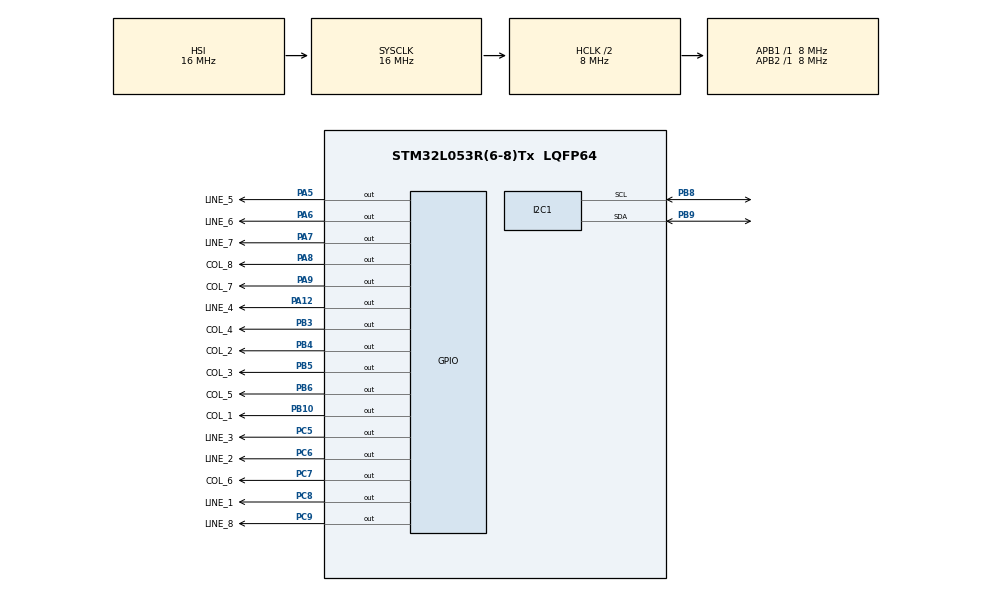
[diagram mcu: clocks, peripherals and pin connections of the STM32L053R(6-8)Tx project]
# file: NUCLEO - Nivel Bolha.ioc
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I2C1.Timing=0x00201D2B
Mcu.Family=STM32L0
Mcu.Name=STM32L053R(6-8)Tx
Mcu.Package=LQFP64
NVIC.TIM6_DAC_IRQn=true\:0\:0\:false\:false\:true\:true\:true\:true
PA12.GPIO_Label=LINE_4
PA12.Signal=GPIO_Output
PA5.GPIO_Label=LINE_5
PA5.Signal=GPIO_Output
PA6.GPIO_Label=LINE_6
PA6.Signal=GPIO_Output
PA7.GPIO_Label=LINE_7
PA7.Signal=GPIO_Output
PA8.GPIO_Label=COL_8
PA8.Signal=GPIO_Output
PA9.GPIO_Label=COL_7
PA9.Signal=GPIO_Output
PB10.GPIO_Label=COL_1
PB10.Signal=GPIO_Output
PB3.GPIO_Label=COL_4
PB3.Signal=GPIO_Output
PB4.GPIO_Label=COL_2
PB4.Signal=GPIO_Output
PB5.GPIO_Label=COL_3
PB5.Signal=GPIO_Output
PB6.GPIO_Label=COL_5
PB6.Signal=GPIO_Output
PB8.Mode=I2C
PB8.Signal=I2C1_SCL
PB9.Mode=I2C
PB9.Signal=I2C1_SDA
PC5.GPIO_Label=LINE_3
PC5.Signal=GPIO_Output
PC6.GPIO_Label=LINE_2
PC6.Signal=GPIO_Output
PC7.GPIO_Label=COL_6
PC7.Signal=GPIO_Output
PC8.GPIO_Label=LINE_1
PC8.Signal=GPIO_Output
PC9.GPIO_Label=LINE_8
PC9.Signal=GPIO_Output
ProjectManager.HeapSize=0x200
ProjectManager.StackSize=0x400
ProjectManager.TargetToolchain=STM32CubeIDE
RCC.AHBCLKDivider=RCC_SYSCLK_DIV2
RCC.AHBFreq_Value=8000000
RCC.APB1Freq_Value=8000000
RCC.APB1TimFreq_Value=8000000
RCC.APB2Freq_Value=8000000
RCC.APB2TimFreq_Value=8000000
RCC.HCLKFreq_Value=8000000
RCC.HSE_VALUE=8000000
RCC.HSI16_VALUE=16000000
RCC.HSI48_VALUE=48000000
RCC.HSI_VALUE=16000000
RCC.MSI_VALUE=2097000
RCC.SYSCLKFreq_VALUE=16000000
RCC.SYSCLKSource=RCC_SYSCLKSOURCE_HSI
RCC.VCOOutputFreq_Value=48000000
TIM6.Period=200-1
TIM6.Prescaler=8000-1
VP_TIM6_VS_ClockSourceINT.Mode=Enable_Timer
board=NUCLEO-L053R8

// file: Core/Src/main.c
/* USER CODE BEGIN Header */
/**
  ******************************************************************************
  * @file           : main.c
  * @brief          : Main program body
  ******************************************************************************
  * @attention
  *
  * Copyright (c) 2025 STMicroelectronics.
  * All rights reserved.
  *
  * This software is licensed under terms that can be found in the LICENSE file
  * in the root directory of this software component.
  * If no LICENSE file comes with this software, it is provided AS-IS.
  *
  ******************************************************************************
  */
/* USER CODE END Header */
#include "main.h"

/* USER CODE BEGIN Includes */
typedef struct{
	// Columns
	unsigned P0: 1,
			 P1: 1,
			 P2: 1,
			 P3: 1,
			 P4: 1,
			 P5: 1,
			 P6: 1,
			 P7: 1;

	// Lines
	unsigned P8: 1,
			 P9: 1,
			 P10: 1,
			 P11: 1,
			 P12: 1,
			 P13: 1,
			 P14: 1,
			 P15: 1;
}MATRIX_BitPort;

typedef enum{
	STOPED,
	UP,
	DOWN,
	LEFT,
	RIGHT
}MPU6050_State;

typedef struct{
	int16_t GyroX,
			GyroY,
			GyroZ;

	int16_t AccX,
			AccY,
			AccZ;

	float temperature;
}MPU6050_Values;
/* USER CODE END Includes */

/* USER CODE BEGIN PD */
#define MPU6050_ADDR (0x68 << 1)
#define MPU6050_GYRO_ADDR 0x1B
#define MPU6050_ACC_ADDR 0x1C
#define MPU6050_PWR_CTRL 0x6B

#define MPU6050_ACC_READ 0x3B
#define MPU6050_TEMP_READ 0x41
#define MPU6050_GYRO_READ 0x43
/* USER CODE END PD */

I2C_HandleTypeDef hi2c1;

TIM_HandleTypeDef htim6;

/* USER CODE BEGIN PV */
MATRIX_BitPort Pinout;
MPU6050_State mode = STOPED;
uint8_t pointX = 1, pointY = 1;

MPU6050_Values MPU6050_val;

HAL_StatusTypeDef verify;

uint8_t table[2][8] = {{0, 0, 0, 0, 0, 0, 0},  // Columns
					   {0, 0, 0, 0, 0, 0, 0}}; // Lines

uint8_t seconds, flag = 0;

/* USER CODE END PV */

void SystemClock_Config(void);
static void MX_GPIO_Init(void);
static void MX_I2C1_Init(void);
static void MX_TIM6_Init(void);
/* USER CODE BEGIN PFP */
void MATRIX_Control(void);
void MATRIX_Interpreter(uint8_t line, uint8_t colum);

int MPU6050_StartUp(void);
void MPU6050_GetValues(void);

void StateMachine(void);

void HAL_TIM_PeriodElapsedCallback(TIM_HandleTypeDef *htim){
	if(htim == &htim6){
		seconds++;

		if(seconds >= 1){
			if(pointX > 4) pointX--;
			if(pointY > 4) pointY--;
			if (pointX < 4) pointX++;
			if (pointY < 4) pointY++;
			HAL_TIM_Base_Stop_IT(&htim6);
		}
	}
}
/* USER CODE END PFP */

int main(void)
{

  /* MCU Configuration--------------------------------------------------------*/

  /* Reset of all peripherals, Initializes the Flash interface and the Systick. */
  HAL_Init();

  /* Configure the system clock */
  SystemClock_Config();

  /* Initialize all configured peripherals */
  MX_GPIO_Init();
  MX_I2C1_Init();
  MX_TIM6_Init();
  /* USER CODE BEGIN 2 */
  MATRIX_Interpreter(4, 4);
  verify = HAL_I2C_IsDeviceReady(&hi2c1, MPU6050_ADDR, 3, HAL_MAX_DELAY);
  if(verify == HAL_OK) MPU6050_StartUp();

  /* USER CODE END 2 */

  /* Infinite loop */
  /* USER CODE BEGIN WHILE */
  while (1) {
	  MATRIX_Interpreter(pointX, pointY);
	  MPU6050_GetValues();
	  StateMachine();
	  HAL_Delay(10);

    /* USER CODE END WHILE */

  }
}

void SystemClock_Config(void)
{
  RCC_OscInitTypeDef RCC_OscInitStruct = {0};
  RCC_ClkInitTypeDef RCC_ClkInitStruct = {0};
  RCC_PeriphCLKInitTypeDef PeriphClkInit = {0};

  /** Configure the main internal regulator output voltage
  */
  __HAL_PWR_VOLTAGESCALING_CONFIG(PWR_REGULATOR_VOLTAGE_SCALE1);

  /** Initializes the RCC Oscillators according to the specified parameters
  * in the RCC_OscInitTypeDef structure.
  */
  RCC_OscInitStruct.OscillatorType = RCC_OSCILLATORTYPE_HSI;
  RCC_OscInitStruct.HSIState = RCC_HSI_ON;
  RCC_OscInitStruct.HSICalibrationValue = RCC_HSICALIBRATION_DEFAULT;
  RCC_OscInitStruct.PLL.PLLState = RCC_PLL_NONE;
  if (HAL_RCC_OscConfig(&RCC_OscInitStruct) != HAL_OK)
  {
    Error_Handler();
  }

  /** Initializes the CPU, AHB and APB buses clocks
  */
  RCC_ClkInitStruct.ClockType = RCC_CLOCKTYPE_HCLK|RCC_CLOCKTYPE_SYSCLK
                              |RCC_CLOCKTYPE_PCLK1|RCC_CLOCKTYPE_PCLK2;
  RCC_ClkInitStruct.SYSCLKSource = RCC_SYSCLKSOURCE_HSI;
  RCC_ClkInitStruct.AHBCLKDivider = RCC_SYSCLK_DIV2;
  RCC_ClkInitStruct.APB1CLKDivider = RCC_HCLK_DIV1;
  RCC_ClkInitStruct.APB2CLKDivider = RCC_HCLK_DIV1;

  if (HAL_RCC_ClockConfig(&RCC_ClkInitStruct, FLASH_LATENCY_0) != HAL_OK)
  {
    Error_Handler();
  }
  PeriphClkInit.PeriphClockSelection = RCC_PERIPHCLK_I2C1;
  PeriphClkInit.I2c1ClockSelection = RCC_I2C1CLKSOURCE_PCLK1;
  if (HAL_RCCEx_PeriphCLKConfig(&PeriphClkInit) != HAL_OK)
  {
    Error_Handler();
  }
}

static void MX_I2C1_Init(void)
{

  hi2c1.Instance = I2C1;
  hi2c1.Init.Timing = 0x00201D2B;
  hi2c1.Init.OwnAddress1 = 0;
  hi2c1.Init.AddressingMode = I2C_ADDRESSINGMODE_7BIT;
  hi2c1.Init.DualAddressMode = I2C_DUALADDRESS_DISABLE;
  hi2c1.Init.OwnAddress2 = 0;
  hi2c1.Init.OwnAddress2Masks = I2C_OA2_NOMASK;
  hi2c1.Init.GeneralCallMode = I2C_GENERALCALL_DISABLE;
  hi2c1.Init.NoStretchMode = I2C_NOSTRETCH_DISABLE;
  if (HAL_I2C_Init(&hi2c1) != HAL_OK)
  {
    Error_Handler();
  }

  /** Configure Analogue filter
  */
  if (HAL_I2CEx_ConfigAnalogFilter(&hi2c1, I2C_ANALOGFILTER_ENABLE) != HAL_OK)
  {
    Error_Handler();
  }

  /** Configure Digital filter
  */
  if (HAL_I2CEx_ConfigDigitalFilter(&hi2c1, 0) != HAL_OK)
  {
    Error_Handler();
  }

}

static void MX_TIM6_Init(void)
{

  TIM_MasterConfigTypeDef sMasterConfig = {0};

  htim6.Instance = TIM6;
  htim6.Init.Prescaler = 8000-1;
  htim6.Init.CounterMode = TIM_COUNTERMODE_UP;
  htim6.Init.Period = 200-1;
  htim6.Init.AutoReloadPreload = TIM_AUTORELOAD_PRELOAD_DISABLE;
  if (HAL_TIM_Base_Init(&htim6) != HAL_OK)
  {
    Error_Handler();
  }
  sMasterConfig.MasterOutputTrigger = TIM_TRGO_RESET;
  sMasterConfig.MasterSlaveMode = TIM_MASTERSLAVEMODE_DISABLE;
  if (HAL_TIMEx_MasterConfigSynchronization(&htim6, &sMasterConfig) != HAL_OK)
  {
    Error_Handler();
  }

}

static void MX_GPIO_Init(void)
{
  GPIO_InitTypeDef GPIO_InitStruct = {0};

  /* GPIO Ports Clock Enable */
  __HAL_RCC_GPIOA_CLK_ENABLE();
  __HAL_RCC_GPIOC_CLK_ENABLE();
  __HAL_RCC_GPIOB_CLK_ENABLE();

  /*Configure GPIO pin Output Level */
  HAL_GPIO_WritePin(GPIOA, LINE_5_Pin|LINE_6_Pin|LINE_7_Pin|COL_8_Pin
                          |COL_7_Pin|LINE_4_Pin, GPIO_PIN_RESET);

  /*Configure GPIO pin Output Level */
  HAL_GPIO_WritePin(GPIOC, LINE_3_Pin|LINE_2_Pin|COL_6_Pin|LINE_1_Pin
                          |LINE_8_Pin, GPIO_PIN_RESET);

  /*Configure GPIO pin Output Level */
  HAL_GPIO_WritePin(GPIOB, COL_1_Pin|COL_4_Pin|COL_2_Pin|COL_3_Pin
                          |COL_5_Pin, GPIO_PIN_RESET);

  /*Configure GPIO pins : LINE_5_Pin LINE_6_Pin LINE_7_Pin COL_8_Pin
                           COL_7_Pin LINE_4_Pin */
  GPIO_InitStruct.Pin = LINE_5_Pin|LINE_6_Pin|LINE_7_Pin|COL_8_Pin
                          |COL_7_Pin|LINE_4_Pin;
  GPIO_InitStruct.Mode = GPIO_MODE_OUTPUT_PP;
  GPIO_InitStruct.Pull = GPIO_NOPULL;
  GPIO_InitStruct.Speed = GPIO_SPEED_FREQ_LOW;
  HAL_GPIO_Init(GPIOA, &GPIO_InitStruct);

  /*Configure GPIO pins : LINE_3_Pin LINE_2_Pin COL_6_Pin LINE_1_Pin
                           LINE_8_Pin */
  GPIO_InitStruct.Pin = LINE_3_Pin|LINE_2_Pin|COL_6_Pin|LINE_1_Pin
                          |LINE_8_Pin;
  GPIO_InitStruct.Mode = GPIO_MODE_OUTPUT_PP;
  GPIO_InitStruct.Pull = GPIO_NOPULL;
  GPIO_InitStruct.Speed = GPIO_SPEED_FREQ_LOW;
  HAL_GPIO_Init(GPIOC, &GPIO_InitStruct);

  /*Configure GPIO pins : COL_1_Pin COL_4_Pin COL_2_Pin COL_3_Pin
                           COL_5_Pin */
  GPIO_InitStruct.Pin = COL_1_Pin|COL_4_Pin|COL_2_Pin|COL_3_Pin
                          |COL_5_Pin;
  GPIO_InitStruct.Mode = GPIO_MODE_OUTPUT_PP;
  GPIO_InitStruct.Pull = GPIO_NOPULL;
  GPIO_InitStruct.Speed = GPIO_SPEED_FREQ_LOW;
  HAL_GPIO_Init(GPIOB, &GPIO_InitStruct);

}

/* USER CODE BEGIN 4 */
void MATRIX_Interpreter(uint8_t line, uint8_t colum){
	switch(colum){
		case 3: colum = 0x04; break;
		case 4: colum = 0x08; break;
		case 5: colum = 0x10; break;
		case 6: colum = 0x20; break;
		case 7: colum = 0x40; break;
		case 8: colum = 0x80; break;
	}

	switch(line){
		case 3: line = 0x04; break;
		case 4: line = 0x08; break;
		case 5: line = 0x10; break;
		case 6: line = 0x20; break;
		case 7: line = 0x40; break;
		case 8: line = 0x80; break;
	}

	table[0][0] = (colum >> 0) & 1;
	table[0][1] = (colum >> 1) & 1;
	table[0][2] = (colum >> 2) & 1;
	table[0][3] = (colum >> 3) & 1;
	table[0][4] = (colum >> 4) & 1;
	table[0][5] = (colum >> 5) & 1;
	table[0][6] = (colum >> 6) & 1;
	table[0][7] = (colum >> 7) & 1;

	table[1][0] = (line >> 0) & 1;
	table[1][1] = (line >> 1) & 1;
	table[1][2] = (line >> 2) & 1;
	table[1][3] = (line >> 3) & 1;
	table[1][4] = (line >> 4) & 1;
	table[1][5] = (line >> 5) & 1;
	table[1][6] = (line >> 6) & 1;
	table[1][7] = (line >> 7) & 1;

	MATRIX_Control();
}
void MATRIX_Control(void){
	for(int i = 0; i <= 8; ++i){
		if(table[0][i] == 1){
			table[0][i + 1] = 1;
			break;
		}
	}

	for(int i = 0; i <= 8; ++i){
		if(table[1][i] == 1){
			table[1][i + 1] = 1;
			break;
		}
	}

	Pinout.P0  = !(table[0][0]);
	Pinout.P1  = !(table[0][1]);
	Pinout.P2  = !(table[0][2]);
	Pinout.P3  = !(table[0][3]);
	Pinout.P4  = !(table[0][4]);
	Pinout.P5  = !(table[0][5]);
	Pinout.P6  = !(table[0][6]);
	Pinout.P7  = !(table[0][7]);

	Pinout.P8  = table[1][0];
	Pinout.P9  = table[1][1];
	Pinout.P10 = table[1][2];
	Pinout.P11 = table[1][3];
	Pinout.P12 = table[1][4];
	Pinout.P13 = table[1][5];
	Pinout.P14 = table[1][6];
	Pinout.P15 = table[1][7];

	HAL_GPIO_WritePin(LINE_1_GPIO_Port, LINE_1_Pin, Pinout.P0);
	HAL_GPIO_WritePin(LINE_2_GPIO_Port, LINE_2_Pin, Pinout.P1);
	HAL_GPIO_WritePin(LINE_3_GPIO_Port, LINE_3_Pin, Pinout.P2);
	HAL_GPIO_WritePin(LINE_4_GPIO_Port, LINE_4_Pin, Pinout.P3);
	HAL_GPIO_WritePin(LINE_5_GPIO_Port, LINE_5_Pin, Pinout.P4);
	HAL_GPIO_WritePin(LINE_6_GPIO_Port, LINE_6_Pin, Pinout.P5);
	HAL_GPIO_WritePin(LINE_7_GPIO_Port, LINE_7_Pin, Pinout.P6);
	HAL_GPIO_WritePin(LINE_8_GPIO_Port, LINE_8_Pin, Pinout.P7);

	HAL_GPIO_WritePin(COL_1_GPIO_Port, COL_1_Pin, Pinout.P8);
	HAL_GPIO_WritePin(COL_2_GPIO_Port, COL_2_Pin, Pinout.P9);
	HAL_GPIO_WritePin(COL_3_GPIO_Port, COL_3_Pin, Pinout.P10);
	HAL_GPIO_WritePin(COL_4_GPIO_Port, COL_4_Pin, Pinout.P11);
	HAL_GPIO_WritePin(COL_5_GPIO_Port, COL_5_Pin, Pinout.P12);
	HAL_GPIO_WritePin(COL_6_GPIO_Port, COL_6_Pin, Pinout.P13);
	HAL_GPIO_WritePin(COL_7_GPIO_Port, COL_7_Pin, Pinout.P14);
	HAL_GPIO_WritePin(COL_8_GPIO_Port, COL_8_Pin, Pinout.P15);

}

int MPU6050_StartUp(void){
	uint8_t data_to_send = 0x00;

	verify = HAL_I2C_Mem_Write(&hi2c1, MPU6050_ADDR, MPU6050_GYRO_ADDR, 1, &data_to_send, 1, HAL_MAX_DELAY);
	if(verify != HAL_OK) return -1;

	verify = HAL_I2C_Mem_Write(&hi2c1, MPU6050_ADDR, MPU6050_ACC_ADDR, 1, &data_to_send, 1, HAL_MAX_DELAY);
	if(verify != HAL_OK) return -2;

	data_to_send = 0x00;

	verify = HAL_I2C_Mem_Write(&hi2c1, MPU6050_ADDR, MPU6050_PWR_CTRL, 1, &data_to_send, 1, HAL_MAX_DELAY);
	if(verify != HAL_OK) return -3;

	return 1;
}
void MPU6050_GetValues(void){
	uint8_t readDataAcc[6];
	uint8_t readDataGyro[6];
	uint8_t readDataTemp[2];

	HAL_I2C_Mem_Read(&hi2c1, MPU6050_ADDR + 1, MPU6050_ACC_READ, 1, readDataAcc, 6, HAL_MAX_DELAY);

	MPU6050_val.AccX = (int16_t)((readDataAcc[0] << 8) + readDataAcc[1]) / 360;
	MPU6050_val.AccY = (int16_t)((readDataAcc[2] << 8) + readDataAcc[3]) / 360;
	MPU6050_val.AccZ = (int16_t)((readDataAcc[4] << 8) + readDataAcc[5]) / 360;

	HAL_I2C_Mem_Read(&hi2c1, MPU6050_ADDR + 1, MPU6050_GYRO_READ, 1, readDataGyro, 6, HAL_MAX_DELAY);
	MPU6050_val.GyroX = (int16_t)((readDataGyro[0] << 8) + readDataGyro[1]) / 360;
	MPU6050_val.GyroY = (int16_t)((readDataGyro[2] << 8) + readDataGyro[3]) / 360;
	MPU6050_val.GyroZ = (int16_t)((readDataGyro[4] << 8) + readDataGyro[5]) / 360;

	HAL_I2C_Mem_Read(&hi2c1, MPU6050_ADDR + 1, MPU6050_TEMP_READ, 1, readDataTemp, 2, HAL_MAX_DELAY);

	MPU6050_val.temperature = (((float)((readDataTemp[0] << 8) + readDataTemp[1])) / 340 + 36.53) / 8.0;
}

void StateMachine(void){

	if(MPU6050_val.AccX > 10) mode = UP;
	else if (MPU6050_val.AccX < -10) mode = DOWN;
	else if (MPU6050_val.AccY < -10) mode = RIGHT;
	else if(MPU6050_val.AccY > 10) mode = LEFT;
	else mode = STOPED;

	switch(mode){
//		case UP: 	if(pointY <= 6) pointX++; break;
//		case DOWN:  if(pointY >= 2) pointX--; break;
//		case LEFT:  if(pointX >= 2) pointY++; break;
//		case RIGHT: if(pointX <= 6) pointY--; break;
		case UP:
			pointX--;
			if(pointX <= 1) pointX = 1;
			break;

		case DOWN:
			pointX++;
			if(pointX >= 7) pointX = 7;
			break;

		case LEFT:
			pointY--;
			if(pointY <= 1) pointY = 1;
			break;

		case RIGHT:
			pointY++;
			if(pointY >= 7) pointY = 7;
			break;

		case STOPED:
			pointY = pointY;
			pointX = pointX;
			HAL_TIM_Base_Start_IT(&htim6);
			break;
	}

	if(mode != STOPED){
		HAL_TIM_Base_Stop_IT(&htim6);
	}
}

/* USER CODE END 4 */

void Error_Handler(void)
{
  __disable_irq();
  while (1)
  {
  }
}
